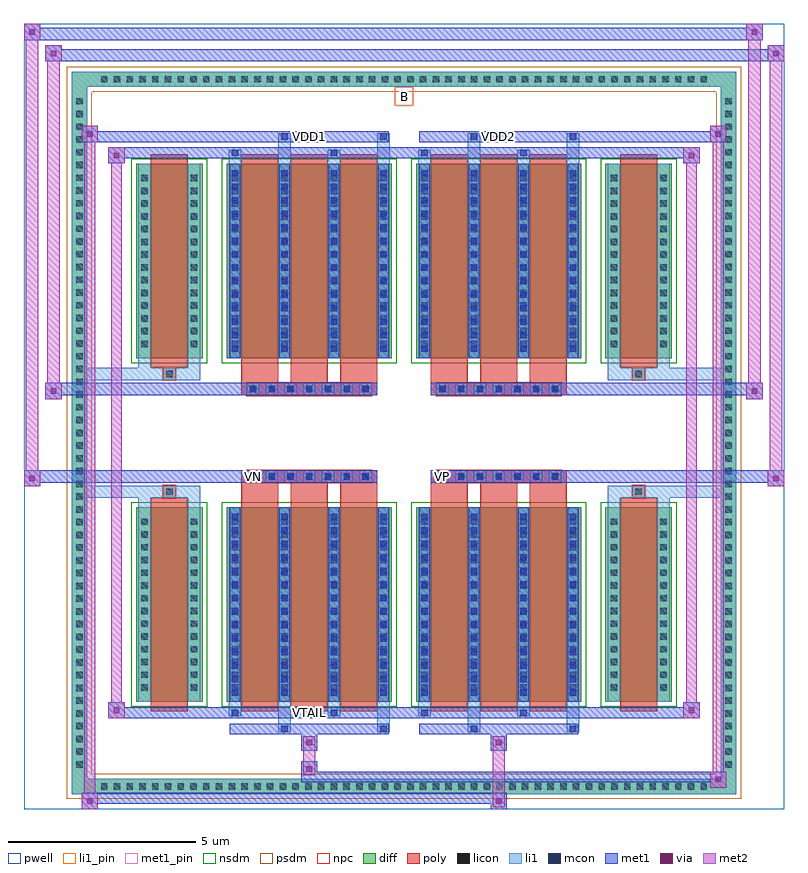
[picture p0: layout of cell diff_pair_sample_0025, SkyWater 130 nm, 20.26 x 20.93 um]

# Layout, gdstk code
import gdstk
lib = gdstk.Library(unit=1e-6, precision=5e-09)
def R(c, l, rs):  # rectangles x0, y0, x1, y1
    for r in rs: c.add(gdstk.rectangle(r[:2], r[2:], *l))
def A(c, l, x, y, w, h, nx, ny, dx, dy):  # array of equal rectangles
    R(c, l, [(x+i*dx, y+j*dy, x+i*dx+w, y+j*dy+h) for i in range(nx) for j in range(ny)])
def P(c, l, *ps):  # polygons
    for p in ps: c.add(gdstk.Polygon(p, *l))
pwell = (64, 44)
diff = (65, 20)
poly = (66, 20)
licon = (66, 44)
li1_pin = (67, 16)
li1 = (67, 20)
mcon = (67, 44)
met1_pin = (68, 16)
met1 = (68, 20)
via = (68, 44)
met2 = (69, 20)
nsdm = (93, 44)
psdm = (94, 20)
npc = (95, 20)

diff_pair_sample_0025 = lib.new_cell('diff_pair_sample_0025')
R(diff_pair_sample_0025, pwell, [(-10.13,-10.03,10.13,10.9), (-7.45,-8.22,-0.01,-0.8), (0.01,-8.22,7.45,-0.8), (-7.45,0.8,-0.01,8.22), (0.01,0.8,7.45,8.22)])
A(diff_pair_sample_0025, diff, -8.195, -9.63, 0.41, 0.41, 48, 2, 0.34, 18.85)
A(diff_pair_sample_0025, diff, -8.86, -9.045, 0.41, 0.41, 1, 53, 0, 0.34)
A(diff_pair_sample_0025, diff, 8.45, -9.045, 0.41, 0.41, 1, 53, 0, 0.34)
R(diff_pair_sample_0025, diff, [(-8.195,-9.63,8.195,-9.22), (-8.86,-9.045,-8.45,9.045), (8.45,-9.045,8.86,9.045), (-7.14,-7.175,-5.37,-1.985), (-4.73,-7.175,-0.32,-1.985), (0.32,-7.175,4.73,-1.985), (5.37,-7.175,7.14,-1.985), (-7.14,1.985,-5.37,7.175), (-4.73,1.985,-0.32,7.175), (0.32,1.985,4.73,7.175), (5.37,1.985,7.14,7.175), (-8.195,9.22,8.195,9.63)])
P(diff_pair_sample_0025, diff, [(8.86,9.63),(-8.86,9.63),(-8.86,-9.22),(-8.45,-9.22),(-8.45,9.22),(8.45,9.22),(8.45,-9.22),(-8.45,-9.22),(-8.86,-9.22),(-8.86,-9.63),(8.86,-9.63)])
A(diff_pair_sample_0025, poly, -4.34, -7.425, 0.99, 5.69, 3, 2, 1.32, 9.16)
A(diff_pair_sample_0025, poly, 0.71, -7.425, 0.99, 5.69, 3, 2, 1.32, 9.16)
A(diff_pair_sample_0025, poly, -4.34, -1.735, 0.99, 0.405, 3, 2, 1.32, 3.065)
A(diff_pair_sample_0025, poly, 0.71, -1.735, 0.99, 0.405, 3, 2, 1.32, 3.065)
A(diff_pair_sample_0025, poly, -4.19, -1.33, 0.33, 0.33, 7, 2, 0.5, 2.33)
A(diff_pair_sample_0025, poly, 0.86, -1.33, 0.33, 0.33, 7, 2, 0.5, 2.33)
R(diff_pair_sample_0025, poly, [(-6.75,-7.425,-5.76,-1.735), (5.76,-7.425,6.75,-1.735), (-6.42,-1.735,-6.09,-1.405), (-6.42,-1.735,-6.09,-1.405), (6.09,-1.735,6.42,-1.405), (6.09,-1.735,6.42,-1.405), (-4.34,-1.33,-0.71,-1), (0.71,-1.33,4.34,-1), (-4.34,1,-0.71,1.33), (0.71,1,4.34,1.33), (-6.42,1.405,-6.09,1.735), (-6.42,1.405,-6.09,1.735), (6.09,1.405,6.42,1.735), (6.09,1.405,6.42,1.735), (-6.75,1.735,-5.76,7.425), (5.76,1.735,6.75,7.425)])
A(diff_pair_sample_0025, licon, -8.075, -9.51, 0.17, 0.17, 48, 2, 0.34, 18.85)
A(diff_pair_sample_0025, licon, -8.74, -8.925, 0.17, 0.17, 1, 53, 0, 0.34)
A(diff_pair_sample_0025, licon, 8.57, -8.925, 0.17, 0.17, 1, 53, 0, 0.34)
A(diff_pair_sample_0025, licon, -7, -6.875, 0.17, 0.17, 1, 14, 0, 0.34)
A(diff_pair_sample_0025, licon, -5.68, -6.875, 0.17, 0.17, 1, 14, 0, 0.34)
A(diff_pair_sample_0025, licon, -4.59, -6.875, 0.17, 0.17, 4, 14, 1.32, 0.34)
A(diff_pair_sample_0025, licon, 0.46, -6.875, 0.17, 0.17, 4, 14, 1.32, 0.34)
A(diff_pair_sample_0025, licon, 5.51, -6.875, 0.17, 0.17, 1, 14, 0, 0.34)
A(diff_pair_sample_0025, licon, 6.83, -6.875, 0.17, 0.17, 1, 14, 0, 0.34)
A(diff_pair_sample_0025, licon, -4.11, -1.25, 0.17, 0.17, 7, 2, 0.5, 2.33)
A(diff_pair_sample_0025, licon, 0.94, -1.25, 0.17, 0.17, 7, 2, 0.5, 2.33)
A(diff_pair_sample_0025, licon, -7, 2.285, 0.17, 0.17, 1, 14, 0, 0.34)
A(diff_pair_sample_0025, licon, -5.68, 2.285, 0.17, 0.17, 1, 14, 0, 0.34)
A(diff_pair_sample_0025, licon, -4.59, 2.285, 0.17, 0.17, 4, 14, 1.32, 0.34)
A(diff_pair_sample_0025, licon, 0.46, 2.285, 0.17, 0.17, 4, 14, 1.32, 0.34)
A(diff_pair_sample_0025, licon, 5.51, 2.285, 0.17, 0.17, 1, 14, 0, 0.34)
A(diff_pair_sample_0025, licon, 6.83, 2.285, 0.17, 0.17, 1, 14, 0, 0.34)
R(diff_pair_sample_0025, licon, [(-6.34,-1.655,-6.17,-1.485), (6.17,-1.655,6.34,-1.485), (-6.34,1.485,-6.17,1.655), (6.17,1.485,6.34,1.655)])
R(diff_pair_sample_0025, li1_pin, [(-0.25,8.72,0.25,9.22)])
A(diff_pair_sample_0025, li1, -8.155, -9.59, 0.33, 0.33, 48, 2, 0.34, 18.85)
A(diff_pair_sample_0025, li1, -8.82, -9.005, 0.33, 0.33, 1, 53, 0, 0.34)
A(diff_pair_sample_0025, li1, 8.49, -9.005, 0.33, 0.33, 1, 53, 0, 0.34)
A(diff_pair_sample_0025, li1, -4.67, -7.175, 0.33, 5.19, 4, 2, 1.32, 9.16)
A(diff_pair_sample_0025, li1, 0.38, -7.175, 0.33, 5.19, 4, 2, 1.32, 9.16)
A(diff_pair_sample_0025, li1, -4.59, -7.005, 0.17, 0.17, 4, 14, 1.32, 0.36)
A(diff_pair_sample_0025, li1, -4.59, -7.005, 0.17, 4.85, 4, 2, 1.32, 9.16)
A(diff_pair_sample_0025, li1, 0.46, -7.005, 0.17, 0.17, 4, 14, 1.32, 0.36)
A(diff_pair_sample_0025, li1, 0.46, -7.005, 0.17, 4.85, 4, 2, 1.32, 9.16)
A(diff_pair_sample_0025, li1, -7.08, -6.955, 0.33, 0.33, 1, 14, 0, 0.34)
A(diff_pair_sample_0025, li1, -5.76, -6.955, 0.33, 0.33, 1, 14, 0, 0.34)
A(diff_pair_sample_0025, li1, -4.67, -6.955, 0.33, 0.33, 4, 14, 1.32, 0.34)
A(diff_pair_sample_0025, li1, 0.38, -6.955, 0.33, 0.33, 4, 14, 1.32, 0.34)
A(diff_pair_sample_0025, li1, 5.43, -6.955, 0.33, 0.33, 1, 14, 0, 0.34)
A(diff_pair_sample_0025, li1, 6.75, -6.955, 0.33, 0.33, 1, 14, 0, 0.34)
A(diff_pair_sample_0025, li1, -4.19, -1.33, 0.33, 0.33, 7, 2, 0.5, 2.33)
A(diff_pair_sample_0025, li1, 0.86, -1.33, 0.33, 0.33, 7, 2, 0.5, 2.33)
A(diff_pair_sample_0025, li1, -4.59, 2.155, 0.17, 0.17, 4, 14, 1.32, 0.36)
A(diff_pair_sample_0025, li1, 0.46, 2.155, 0.17, 0.17, 4, 14, 1.32, 0.36)
A(diff_pair_sample_0025, li1, -7.08, 2.205, 0.33, 0.33, 1, 14, 0, 0.34)
A(diff_pair_sample_0025, li1, -5.76, 2.205, 0.33, 0.33, 1, 14, 0, 0.34)
A(diff_pair_sample_0025, li1, -4.67, 2.205, 0.33, 0.33, 4, 14, 1.32, 0.34)
A(diff_pair_sample_0025, li1, 0.38, 2.205, 0.33, 0.33, 4, 14, 1.32, 0.34)
A(diff_pair_sample_0025, li1, 5.43, 2.205, 0.33, 0.33, 1, 14, 0, 0.34)
A(diff_pair_sample_0025, li1, 6.75, 2.205, 0.33, 0.33, 1, 14, 0, 0.34)
R(diff_pair_sample_0025, li1, [(-8.86,-9.63,-8.45,-9.22), (-8.86,-9.63,-8.45,-9.22), (-8.45,-9.63,8.45,-9.22), (8.45,-9.63,8.86,-9.22), (8.45,-9.63,8.86,-9.22), (-8.86,-9.22,-8.45,9.22), (8.45,-9.22,8.86,9.22), (-3.35,-7.98,-3.02,-7.175), (-3.27,-7.98,-3.1,-7.81), (-0.71,-7.98,-0.38,-7.175), (-0.63,-7.98,-0.46,-7.81), (1.7,-7.98,2.03,-7.175), (1.78,-7.98,1.95,-7.81), (4.34,-7.98,4.67,-7.175), (4.42,-7.98,4.59,-7.81), (-4.67,-7.55,-4.34,-7.175), (-4.59,-7.55,-4.42,-7.38), (-2.03,-7.55,-1.7,-7.175), (-1.95,-7.55,-1.78,-7.38), (0.38,-7.55,0.71,-7.175), (0.46,-7.55,0.63,-7.38), (3.02,-7.55,3.35,-7.175), (3.1,-7.55,3.27,-7.38), (-7.08,-7.175,-6.75,-1.985), (-5.76,-7.175,-5.43,-1.985), (5.43,-7.175,5.76,-1.985), (6.75,-7.175,7.08,-1.985), (-7.08,-1.985,-6.75,-1.405), (-5.76,-1.985,-5.43,-1.405), (5.43,-1.985,5.76,-1.405), (6.75,-1.985,7.08,-1.405), (-8.86,-1.735,-6.42,-1.405), (-7.08,-1.735,-6.42,-1.405), (-6.42,-1.735,-6.09,-1.405), (-6.09,-1.735,-5.43,-1.405), (5.43,-1.735,6.09,-1.405), (6.09,-1.735,6.42,-1.405), (6.09,-1.735,8.86,-1.405), (6.42,-1.735,7.08,-1.405), (-8.86,1.405,-6.42,1.735), (-7.08,1.405,-6.42,1.735), (-7.08,1.405,-6.75,1.985), (-6.42,1.405,-6.09,1.735), (-6.09,1.405,-5.43,1.735), (-5.76,1.405,-5.43,1.985), (5.43,1.405,6.09,1.735), (5.43,1.405,5.76,1.985), (6.09,1.405,6.42,1.735), (6.09,1.405,8.86,1.735), (6.42,1.405,7.08,1.735), (6.75,1.405,7.08,1.985), (-7.08,1.985,-6.75,7.175), (-5.76,1.985,-5.43,7.175), (5.43,1.985,5.76,7.175), (6.75,1.985,7.08,7.175), (-4.67,7.175,-4.34,7.55), (-3.35,7.175,-3.02,7.98), (-2.03,7.175,-1.7,7.55), (-0.71,7.175,-0.38,7.98), (0.38,7.175,0.71,7.55), (1.7,7.175,2.03,7.98), (3.02,7.175,3.35,7.55), (4.34,7.175,4.67,7.98), (-4.59,7.38,-4.42,7.55), (-1.95,7.38,-1.78,7.55), (0.46,7.38,0.63,7.55), (3.1,7.38,3.27,7.55), (-3.27,7.81,-3.1,7.98), (-0.63,7.81,-0.46,7.98), (1.78,7.81,1.95,7.98), (4.42,7.81,4.59,7.98), (-8.86,9.22,-8.45,9.63), (-8.86,9.22,-8.45,9.63), (-8.45,9.22,8.45,9.63), (8.45,9.22,8.86,9.63), (8.45,9.22,8.86,9.63)])
A(diff_pair_sample_0025, mcon, -4.59, -7.005, 0.17, 0.17, 4, 14, 1.32, 0.36)
A(diff_pair_sample_0025, mcon, 0.46, -7.005, 0.17, 0.17, 4, 14, 1.32, 0.36)
A(diff_pair_sample_0025, mcon, -4.11, -1.25, 0.17, 0.17, 7, 2, 0.5, 2.33)
A(diff_pair_sample_0025, mcon, 0.94, -1.25, 0.17, 0.17, 7, 2, 0.5, 2.33)
A(diff_pair_sample_0025, mcon, -4.59, 2.155, 0.17, 0.17, 4, 14, 1.32, 0.36)
A(diff_pair_sample_0025, mcon, 0.46, 2.155, 0.17, 0.17, 4, 14, 1.32, 0.36)
R(diff_pair_sample_0025, mcon, [(-3.27,-7.98,-3.1,-7.81), (-0.63,-7.98,-0.46,-7.81), (1.78,-7.98,1.95,-7.81), (4.42,-7.98,4.59,-7.81), (-4.59,-7.55,-4.42,-7.38), (-1.95,-7.55,-1.78,-7.38), (0.46,-7.55,0.63,-7.38), (3.1,-7.55,3.27,-7.38), (-4.59,7.38,-4.42,7.55), (-1.95,7.38,-1.78,7.55), (0.46,7.38,0.63,7.55), (3.1,7.38,3.27,7.55), (-3.27,7.81,-3.1,7.98), (-0.63,7.81,-0.46,7.98), (1.78,7.81,1.95,7.98), (4.42,7.81,4.59,7.98)])
R(diff_pair_sample_0025, met1_pin, [(-2.66,-7.59,-2.39,-7.32), (-4.16,-1.29,-3.89,-1.02), (0.89,-1.29,1.16,-1.02), (-2.66,7.77,-2.39,8.04), (2.39,7.77,2.66,8.04)])
A(diff_pair_sample_0025, met1, -4.65, -7.175, 0.29, 5.19, 4, 2, 1.32, 9.16)
A(diff_pair_sample_0025, met1, 0.4, -7.175, 0.29, 5.19, 4, 2, 1.32, 9.16)
A(diff_pair_sample_0025, met1, -4.65, -7.065, 0.29, 0.29, 4, 14, 1.32, 0.36)
A(diff_pair_sample_0025, met1, 0.4, -7.065, 0.29, 0.29, 4, 14, 1.32, 0.36)
A(diff_pair_sample_0025, met1, -4.17, -1.31, 0.29, 0.29, 7, 2, 0.5, 2.33)
A(diff_pair_sample_0025, met1, 0.88, -1.31, 0.29, 0.29, 7, 2, 0.5, 2.33)
A(diff_pair_sample_0025, met1, -4.65, 2.095, 0.29, 0.29, 4, 14, 1.32, 0.36)
A(diff_pair_sample_0025, met1, 0.4, 2.095, 0.29, 0.29, 4, 14, 1.32, 0.36)
R(diff_pair_sample_0025, met1, [(-8.59,-10.03,-8.16,-9.6), (2.31,-10.03,2.74,-9.6), (-8.59,-9.89,2.74,-9.6), (8.16,-9.46,8.59,-9.03), (-2.74,-9.32,8.59,-9.03), (-2.74,-9.18,-2.31,-8.75), (-2.74,-8.47,-2.31,-8.04), (2.31,-8.47,2.74,-8.04), (-4.65,-8.04,-0.4,-7.75), (-3.33,-8.04,-3.04,-7.75), (-0.69,-8.04,-0.4,-7.75), (0.4,-8.04,4.65,-7.75), (1.72,-8.04,2.01,-7.75), (4.36,-8.04,4.65,-7.75), (-7.88,-7.61,-7.45,-7.18), (-7.88,-7.61,-4.65,-7.32), (-4.65,-7.61,-4.36,-7.32), (-4.65,-7.61,-0.4,-7.32), (-2.01,-7.61,-1.72,-7.32), (-0.4,-7.61,0.4,-7.32), (0.4,-7.61,0.69,-7.32), (0.4,-7.61,4.65,-7.32), (3.04,-7.61,3.33,-7.32), (4.65,-7.61,7.88,-7.32), (7.45,-7.61,7.88,-7.18), (-10.13,-1.43,-9.7,-1), (9.7,-1.43,10.13,-1), (-10.13,-1.33,-0.71,-1), (-4.34,-1.33,-0.71,-1), (0.71,-1.33,4.34,-1), (0.71,-1.33,10.13,-1), (-9.56,0.9,-9.13,1.33), (9.13,0.9,9.56,1.33), (-9.56,1,-4.34,1.33), (-4.34,1,-0.71,1.33), (0.71,1,4.34,1.33), (4.34,1,9.56,1.33), (-7.88,7.18,-7.45,7.61), (7.45,7.18,7.88,7.61), (-7.88,7.32,-4.65,7.61), (-4.65,7.32,-4.36,7.61), (-4.65,7.32,-0.4,7.61), (-2.01,7.32,-1.72,7.61), (-0.4,7.32,0.4,7.61), (0.4,7.32,0.69,7.61), (0.4,7.32,4.65,7.61), (3.04,7.32,3.33,7.61), (4.65,7.32,7.88,7.61), (-8.59,7.75,-8.16,8.18), (-8.59,7.75,-4.65,8.04), (-4.65,7.75,-0.4,8.04), (-3.33,7.75,-3.04,8.04), (-0.69,7.75,-0.4,8.04), (0.4,7.75,4.65,8.04), (1.72,7.75,2.01,8.04), (4.36,7.75,4.65,8.04), (4.65,7.75,8.59,8.04), (8.16,7.75,8.59,8.18), (-9.56,9.9,-9.13,10.33), (-9.56,9.9,-7.45,10.23), (-7.45,9.9,7.45,10.23), (7.45,9.9,10.13,10.23), (9.7,9.9,10.13,10.33), (-10.13,10.47,-9.7,10.9), (-10.13,10.47,-7.45,10.8), (-7.45,10.47,7.45,10.8), (7.45,10.47,9.56,10.8), (9.13,10.47,9.56,10.9)])
R(diff_pair_sample_0025, via, [(-8.45,-9.89,-8.3,-9.74), (2.45,-9.89,2.6,-9.74), (8.3,-9.32,8.45,-9.17), (-2.6,-9.04,-2.45,-8.89), (-2.6,-8.33,-2.45,-8.18), (2.45,-8.33,2.6,-8.18), (-7.74,-7.47,-7.59,-7.32), (7.59,-7.47,7.74,-7.32), (-9.99,-1.29,-9.84,-1.14), (9.84,-1.29,9.99,-1.14), (-9.42,1.04,-9.27,1.19), (9.27,1.04,9.42,1.19), (-7.74,7.32,-7.59,7.47), (7.59,7.32,7.74,7.47), (-8.45,7.89,-8.3,8.04), (8.3,7.89,8.45,8.04), (-9.42,10.04,-9.27,10.19), (9.84,10.04,9.99,10.19), (-9.99,10.61,-9.84,10.76), (9.27,10.61,9.42,10.76)])
R(diff_pair_sample_0025, met2, [(-8.59,-10.03,-8.16,-9.6), (-8.52,-10.03,-8.23,8.18), (-8.23,-10.03,-8.16,-9.6), (-8.54,-9.98,-8.21,-9.65), (2.36,-9.98,2.69,-9.65), (2.36,-9.65,2.69,-8.42), (8.16,-9.46,8.59,-9.03), (8.23,-9.46,8.52,8.18), (8.52,-9.46,8.59,-9.03), (8.21,-9.41,8.54,-9.08), (-2.69,-9.13,-2.36,-8.8), (-2.69,-8.8,-2.36,-8.42), (-2.69,-8.42,-2.36,-8.09), (2.36,-8.42,2.69,-8.09), (-7.88,-7.61,-7.45,-7.18), (-7.81,-7.61,-7.52,7.61), (-7.52,-7.61,-7.45,-7.18), (7.45,-7.61,7.88,-7.18), (7.52,-7.61,7.81,7.61), (7.81,-7.61,7.88,-7.18), (-7.83,-7.56,-7.5,-7.23), (7.5,-7.56,7.83,-7.23), (-10.13,-1.43,-9.7,-1), (-10.08,-1.43,-9.75,10.9), (-9.75,-1.43,-9.7,-1), (9.7,-1.43,10.13,-1), (9.75,-1.43,10.08,10.33), (10.08,-1.43,10.13,-1), (-10.08,-1.38,-9.75,-1.05), (9.75,-1.38,10.08,-1.05), (-9.56,0.9,-9.13,1.33), (-9.51,0.9,-9.18,10.33), (-9.18,0.9,-9.13,1.33), (9.13,0.9,9.56,1.33), (9.18,0.9,9.51,10.9), (9.51,0.9,9.56,1.33), (-9.51,0.95,-9.18,1.28), (9.18,0.95,9.51,1.28), (-7.88,7.18,-7.45,7.61), (-7.52,7.18,-7.45,7.61), (7.45,7.18,7.88,7.61), (7.81,7.18,7.88,7.61), (-7.83,7.23,-7.5,7.56), (7.5,7.23,7.83,7.56), (-8.59,7.75,-8.16,8.18), (-8.23,7.75,-8.16,8.18), (8.16,7.75,8.59,8.18), (8.52,7.75,8.59,8.18), (-8.54,7.8,-8.21,8.13), (8.21,7.8,8.54,8.13), (-9.56,9.9,-9.13,10.33), (-9.18,9.9,-9.13,10.33), (9.7,9.9,10.13,10.33), (10.08,9.9,10.13,10.33), (-9.51,9.95,-9.18,10.28), (9.75,9.95,10.08,10.28), (-10.13,10.47,-9.7,10.9), (-9.75,10.47,-9.7,10.9), (9.13,10.47,9.56,10.9), (9.51,10.47,9.56,10.9), (-10.08,10.52,-9.75,10.85), (9.18,10.52,9.51,10.85)])
R(diff_pair_sample_0025, nsdm, [(-7.27,-7.305,-5.24,-1.855), (-4.86,-7.305,-0.19,-1.855), (0.19,-7.305,4.86,-1.855), (5.24,-7.305,7.27,-1.855), (-7.27,1.855,-5.24,7.305), (-4.86,1.855,-0.19,7.305), (0.19,1.855,4.86,7.305), (5.24,1.855,7.27,7.305)])
P(diff_pair_sample_0025, psdm, [(8.99,9.76),(-8.99,9.76),(-8.99,-9.09),(-8.32,-9.09),(-8.32,9.09),(8.32,9.09),(8.32,-9.09),(-8.32,-9.09),(-8.99,-9.09),(-8.99,-9.76),(8.99,-9.76)])
A(diff_pair_sample_0025, npc, -4.21, -1.35, 0.37, 0.37, 7, 2, 0.5, 2.33)
A(diff_pair_sample_0025, npc, 0.84, -1.35, 0.37, 0.37, 7, 2, 0.5, 2.33)
R(diff_pair_sample_0025, npc, [(-6.44,-1.755,-6.07,-1.385), (6.07,-1.755,6.44,-1.385), (-4.21,-1.35,-3.34,-0.98), (-4.21,-1.35,-3.34,-0.98), (-3.71,-1.35,-2.84,-0.98), (-3.71,-1.35,-2.84,-0.98), (-3.21,-1.35,-2.34,-0.98), (-3.21,-1.35,-2.34,-0.98), (-2.71,-1.35,-1.84,-0.98), (-2.71,-1.35,-1.84,-0.98), (-2.21,-1.35,-1.34,-0.98), (-2.21,-1.35,-1.34,-0.98), (-1.71,-1.35,-0.84,-0.98), (-1.71,-1.35,-0.84,-0.98), (0.84,-1.35,1.71,-0.98), (0.84,-1.35,1.71,-0.98), (1.34,-1.35,2.21,-0.98), (1.34,-1.35,2.21,-0.98), (1.84,-1.35,2.71,-0.98), (1.84,-1.35,2.71,-0.98), (2.34,-1.35,3.21,-0.98), (2.34,-1.35,3.21,-0.98), (2.84,-1.35,3.71,-0.98), (2.84,-1.35,3.71,-0.98), (3.34,-1.35,4.21,-0.98), (3.34,-1.35,4.21,-0.98), (-4.21,0.98,-3.34,1.35), (-4.21,0.98,-3.34,1.35), (-3.71,0.98,-2.84,1.35), (-3.71,0.98,-2.84,1.35), (-3.21,0.98,-2.34,1.35), (-3.21,0.98,-2.34,1.35), (-2.71,0.98,-1.84,1.35), (-2.71,0.98,-1.84,1.35), (-2.21,0.98,-1.34,1.35), (-2.21,0.98,-1.34,1.35), (-1.71,0.98,-0.84,1.35), (-1.71,0.98,-0.84,1.35), (0.84,0.98,1.71,1.35), (0.84,0.98,1.71,1.35), (1.34,0.98,2.21,1.35), (1.34,0.98,2.21,1.35), (1.84,0.98,2.71,1.35), (1.84,0.98,2.71,1.35), (2.34,0.98,3.21,1.35), (2.34,0.98,3.21,1.35), (2.84,0.98,3.71,1.35), (2.84,0.98,3.71,1.35), (3.34,0.98,4.21,1.35), (3.34,0.98,4.21,1.35), (-6.44,1.385,-6.07,1.755), (6.07,1.385,6.44,1.755)])
diff_pair_sample_0025.add(gdstk.Label('VTAIL', (-2.525,-7.455), layer=68, texttype=5))
diff_pair_sample_0025.add(gdstk.Label('VN', (-4.025,-1.155), layer=68, texttype=5))
diff_pair_sample_0025.add(gdstk.Label('VP', (1.025,-1.155), layer=68, texttype=5))
diff_pair_sample_0025.add(gdstk.Label('B', (0,8.97), layer=67, texttype=5))
diff_pair_sample_0025.add(gdstk.Label('VDD2', (2.525,7.905), layer=68, texttype=5))
diff_pair_sample_0025.add(gdstk.Label('VDD1', (-2.525,7.905), layer=68, texttype=5))

lib.write_gds('diff_pair_sample_0025.gds')
